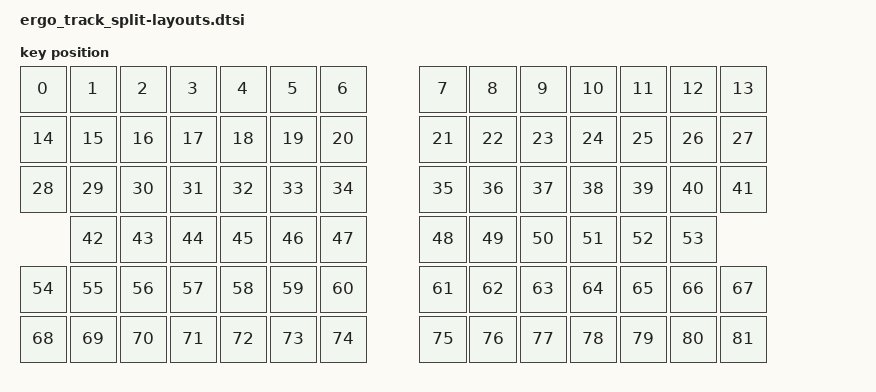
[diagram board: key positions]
/*
 * Copyright (c) 2024
 * SPDX-License-Identifier: MIT
 * 
 * Physical layout definition for ZMK Studio support
 */

#include <physical_layouts.dtsi>

/ {
    ergo_track_split_layout: ergo_track_split_layout {
        compatible = "zmk,physical-layout";
        display-name = "Default Layout";
        transform = <&default_transform>;
        
        keys  // w   h    x    y     r    rx   ry
            = <&key_physical_attrs 100 100    0    0    0     0    0>  // ROW0 COL6 (LEFT)
            , <&key_physical_attrs 100 100  100    0    0     0    0>  // ROW0 COL5
            , <&key_physical_attrs 100 100  200    0    0     0    0>  // ROW0 COL4
            , <&key_physical_attrs 100 100  300    0    0     0    0>  // ROW0 COL3
            , <&key_physical_attrs 100 100  400    0    0     0    0>  // ROW0 COL2
            , <&key_physical_attrs 100 100  500    0    0     0    0>  // ROW0 COL1
            , <&key_physical_attrs 100 100  600    0    0     0    0>  // ROW0 COL0
            , <&key_physical_attrs 100 100  800    0    0     0    0>  // ROW0 COL0 (RIGHT)
            , <&key_physical_attrs 100 100  900    0    0     0    0>  // ROW0 COL1
            , <&key_physical_attrs 100 100 1000    0    0     0    0>  // ROW0 COL2
            , <&key_physical_attrs 100 100 1100    0    0     0    0>  // ROW0 COL3
            , <&key_physical_attrs 100 100 1200    0    0     0    0>  // ROW0 COL4
            , <&key_physical_attrs 100 100 1300    0    0     0    0>  // ROW0 COL5
            , <&key_physical_attrs 100 100 1400    0    0     0    0>  // ROW0 COL6
            
            // ROW1
            , <&key_physical_attrs 100 100    0  100    0     0    0>  // ROW1 COL6 (LEFT)
            , <&key_physical_attrs 100 100  100  100    0     0    0>  // ROW1 COL5
            , <&key_physical_attrs 100 100  200  100    0     0    0>  // ROW1 COL4
            , <&key_physical_attrs 100 100  300  100    0     0    0>  // ROW1 COL3
            , <&key_physical_attrs 100 100  400  100    0     0    0>  // ROW1 COL2
            , <&key_physical_attrs 100 100  500  100    0     0    0>  // ROW1 COL1
            , <&key_physical_attrs 100 100  600  100    0     0    0>  // ROW1 COL0
            , <&key_physical_attrs 100 100  800  100    0     0    0>  // ROW1 COL0 (RIGHT)
            , <&key_physical_attrs 100 100  900  100    0     0    0>  // ROW1 COL1
            , <&key_physical_attrs 100 100 1000  100    0     0    0>  // ROW1 COL2
            , <&key_physical_attrs 100 100 1100  100    0     0    0>  // ROW1 COL3
            , <&key_physical_attrs 100 100 1200  100    0     0    0>  // ROW1 COL4
            , <&key_physical_attrs 100 100 1300  100    0     0    0>  // ROW1 COL5
            , <&key_physical_attrs 100 100 1400  100    0     0    0>  // ROW1 COL6
            
            // ROW2
            , <&key_physical_attrs 100 100    0  200    0     0    0>  // ROW2 COL6 (LEFT)
            , <&key_physical_attrs 100 100  100  200    0     0    0>  // ROW2 COL5
            , <&key_physical_attrs 100 100  200  200    0     0    0>  // ROW2 COL4
            , <&key_physical_attrs 100 100  300  200    0     0    0>  // ROW2 COL3
            , <&key_physical_attrs 100 100  400  200    0     0    0>  // ROW2 COL2
            , <&key_physical_attrs 100 100  500  200    0     0    0>  // ROW2 COL1
            , <&key_physical_attrs 100 100  600  200    0     0    0>  // ROW2 COL0
            , <&key_physical_attrs 100 100  800  200    0     0    0>  // ROW2 COL0 (RIGHT)
            , <&key_physical_attrs 100 100  900  200    0     0    0>  // ROW2 COL1
            , <&key_physical_attrs 100 100 1000  200    0     0    0>  // ROW2 COL2
            , <&key_physical_attrs 100 100 1100  200    0     0    0>  // ROW2 COL3
            , <&key_physical_attrs 100 100 1200  200    0     0    0>  // ROW2 COL4
            , <&key_physical_attrs 100 100 1300  200    0     0    0>  // ROW2 COL5
            , <&key_physical_attrs 100 100 1400  200    0     0    0>  // ROW2 COL6
            
            // ROW3 (no COL6)
            , <&key_physical_attrs 100 100  100  300    0     0    0>  // ROW3 COL5 (LEFT)
            , <&key_physical_attrs 100 100  200  300    0     0    0>  // ROW3 COL4
            , <&key_physical_attrs 100 100  300  300    0     0    0>  // ROW3 COL3
            , <&key_physical_attrs 100 100  400  300    0     0    0>  // ROW3 COL2
            , <&key_physical_attrs 100 100  500  300    0     0    0>  // ROW3 COL1
            , <&key_physical_attrs 100 100  600  300    0     0    0>  // ROW3 COL0
            , <&key_physical_attrs 100 100  800  300    0     0    0>  // ROW3 COL0 (RIGHT)
            , <&key_physical_attrs 100 100  900  300    0     0    0>  // ROW3 COL1
            , <&key_physical_attrs 100 100 1000  300    0     0    0>  // ROW3 COL2
            , <&key_physical_attrs 100 100 1100  300    0     0    0>  // ROW3 COL3
            , <&key_physical_attrs 100 100 1200  300    0     0    0>  // ROW3 COL4
            , <&key_physical_attrs 100 100 1300  300    0     0    0>  // ROW3 COL5
            
            // ROW4
            , <&key_physical_attrs 100 100    0  400    0     0    0>  // ROW4 COL6 (LEFT)
            , <&key_physical_attrs 100 100  100  400    0     0    0>  // ROW4 COL5
            , <&key_physical_attrs 100 100  200  400    0     0    0>  // ROW4 COL4
            , <&key_physical_attrs 100 100  300  400    0     0    0>  // ROW4 COL3
            , <&key_physical_attrs 100 100  400  400    0     0    0>  // ROW4 COL2
            , <&key_physical_attrs 100 100  500  400    0     0    0>  // ROW4 COL1
            , <&key_physical_attrs 100 100  600  400    0     0    0>  // ROW4 COL0
            , <&key_physical_attrs 100 100  800  400    0     0    0>  // ROW4 COL0 (RIGHT)
            , <&key_physical_attrs 100 100  900  400    0     0    0>  // ROW4 COL1
            , <&key_physical_attrs 100 100 1000  400    0     0    0>  // ROW4 COL2
            , <&key_physical_attrs 100 100 1100  400    0     0    0>  // ROW4 COL3
            , <&key_physical_attrs 100 100 1200  400    0     0    0>  // ROW4 COL4
            , <&key_physical_attrs 100 100 1300  400    0     0    0>  // ROW4 COL5
            , <&key_physical_attrs 100 100 1400  400    0     0    0>  // ROW4 COL6
            
            // ROW5
            , <&key_physical_attrs 100 100    0  500    0     0    0>  // ROW5 COL6 (LEFT)
            , <&key_physical_attrs 100 100  100  500    0     0    0>  // ROW5 COL5
            , <&key_physical_attrs 100 100  200  500    0     0    0>  // ROW5 COL4
            , <&key_physical_attrs 100 100  300  500    0     0    0>  // ROW5 COL3
            , <&key_physical_attrs 100 100  400  500    0     0    0>  // ROW5 COL2
            , <&key_physical_attrs 100 100  500  500    0     0    0>  // ROW5 COL1
            , <&key_physical_attrs 100 100  600  500    0     0    0>  // ROW5 COL0
            , <&key_physical_attrs 100 100  800  500    0     0    0>  // ROW5 COL0 (RIGHT)
            , <&key_physical_attrs 100 100  900  500    0     0    0>  // ROW5 COL1
            , <&key_physical_attrs 100 100 1000  500    0     0    0>  // ROW5 COL2
            , <&key_physical_attrs 100 100 1100  500    0     0    0>  // ROW5 COL3
            , <&key_physical_attrs 100 100 1200  500    0     0    0>  // ROW5 COL4
            , <&key_physical_attrs 100 100 1300  500    0     0    0>  // ROW5 COL5
            , <&key_physical_attrs 100 100 1400  500    0     0    0>  // ROW5 COL6
            ;
    };
};
